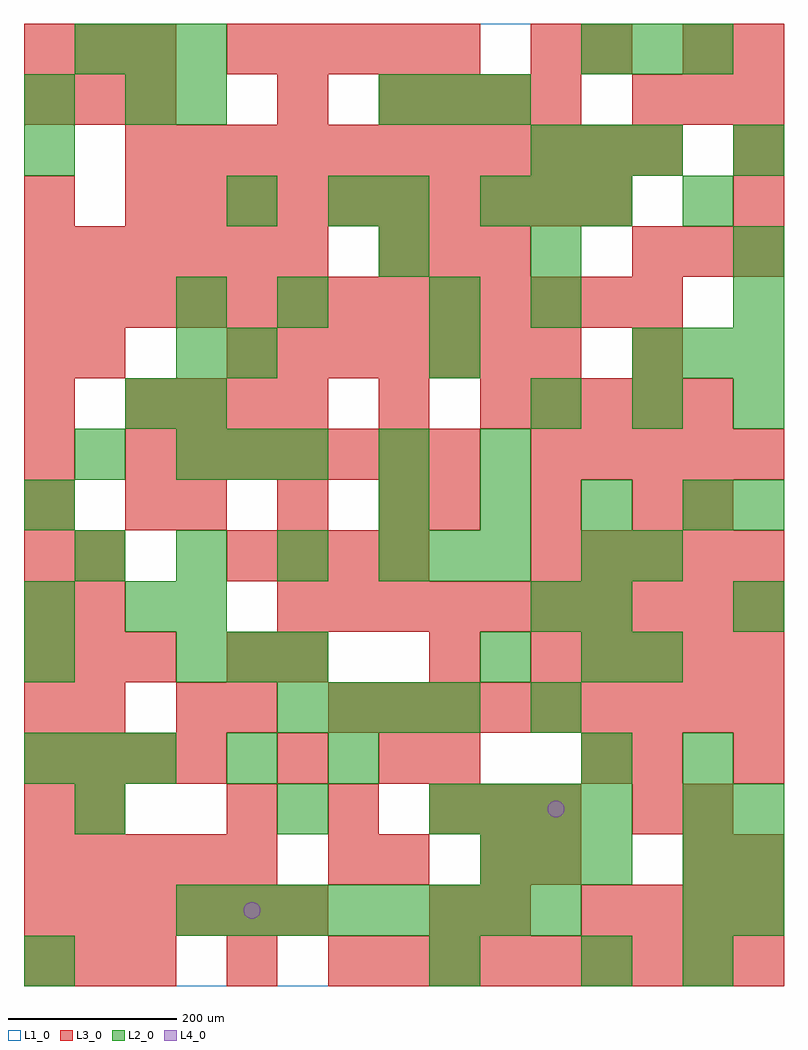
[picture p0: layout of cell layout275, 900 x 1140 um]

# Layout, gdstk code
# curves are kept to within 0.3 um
import gdstk
lib = gdstk.Library(unit=1e-6, precision=1e-09)
def R(c, l, rs):  # rectangles x0, y0, x1, y1
    for r in rs: c.add(gdstk.rectangle(r[:2], r[2:], *l))
def A(c, l, x, y, w, h, nx, ny, dx, dy):  # array of equal rectangles
    R(c, l, [(x+i*dx, y+j*dy, x+i*dx+w, y+j*dy+h) for i in range(nx) for j in range(ny)])
def P(c, l, *ps):  # polygons
    for p in ps: c.add(gdstk.Polygon(p, *l))
L1_0 = (1, 0)
L2_0 = (2, 0)
L3_0 = (3, 0)
L4_0 = (4, 0)

layout275 = lib.new_cell('layout275')
R(layout275, L1_0, [(0,0,900,1140)])
A(layout275, L2_0, 780, 0, 60, 60, 1, 5, 0, 60)
A(layout275, L2_0, 180, 60, 60, 60, 8, 1, 60, 0)
A(layout275, L2_0, 840, 60, 60, 60, 1, 3, 0, 60)
A(layout275, L2_0, 540, 120, 60, 60, 3, 2, 60, 780)
A(layout275, L2_0, 480, 180, 60, 60, 4, 1, 60, 0)
A(layout275, L2_0, 0, 240, 60, 60, 3, 1, 60, 0)
A(layout275, L2_0, 300, 300, 60, 60, 4, 1, 60, 0)
A(layout275, L2_0, 180, 360, 60, 60, 3, 2, 60, 240)
A(layout275, L2_0, 540, 360, 60, 60, 1, 3, 0, 120)
A(layout275, L2_0, 660, 360, 60, 60, 1, 3, 0, 60)
A(layout275, L2_0, 60, 480, 60, 60, 4, 1, 120, 0)
A(layout275, L2_0, 420, 540, 60, 60, 4, 1, 120, 0)
A(layout275, L2_0, 180, 660, 60, 60, 1, 3, 0, 60)
A(layout275, L2_0, 600, 660, 60, 60, 3, 1, 120, 0)
A(layout275, L2_0, 240, 720, 60, 60, 3, 1, 240, 0)
A(layout275, L2_0, 840, 720, 60, 60, 1, 3, 0, 60)
A(layout275, L2_0, 600, 960, 60, 60, 3, 1, 60, 0)
A(layout275, L2_0, 420, 1020, 60, 60, 3, 1, 60, 0)
A(layout275, L2_0, 60, 1080, 60, 60, 3, 1, 60, 0)
A(layout275, L2_0, 660, 1080, 60, 60, 3, 1, 60, 0)
R(layout275, L2_0, [(0,0,60,60), (480,0,540,60), (660,0,720,60), (60,180,120,240), (300,180,360,240), (240,240,300,300), (360,240,420,300), (660,240,720,300), (600,300,660,360), (0,360,60,420), (720,360,780,420), (0,420,60,480), (120,420,180,480), (180,420,240,480), (600,420,660,480), (840,420,900,480), (480,480,540,540), (720,480,780,540), (0,540,60,600), (840,540,900,600), (60,600,120,660), (420,600,480,660), (120,660,180,720), (780,720,840,780), (300,780,360,840), (480,780,540,840), (600,780,660,840), (420,840,480,900), (600,840,660,900), (240,900,300,960), (360,900,420,960), (420,900,480,960), (780,900,840,960), (0,960,60,1020), (840,960,900,1020), (0,1020,60,1080), (120,1020,180,1080), (180,1020,240,1080)])
A(layout275, L3_0, 0, 0, 60, 60, 3, 2, 60, 360)
A(layout275, L3_0, 360, 0, 60, 60, 9, 2, 60, 300)
A(layout275, L3_0, 0, 60, 60, 60, 6, 2, 60, 780)
A(layout275, L3_0, 540, 60, 60, 60, 1, 3, 0, 60)
A(layout275, L3_0, 660, 60, 60, 60, 4, 1, 60, 0)
A(layout275, L3_0, 0, 120, 60, 60, 5, 1, 60, 0)
A(layout275, L3_0, 0, 180, 60, 60, 1, 3, 0, 120)
A(layout275, L3_0, 60, 180, 60, 60, 1, 3, 0, 120)
A(layout275, L3_0, 240, 180, 60, 60, 3, 1, 120, 0)
A(layout275, L3_0, 0, 240, 60, 60, 4, 1, 60, 0)
A(layout275, L3_0, 600, 360, 60, 60, 5, 3, 60, 120)
A(layout275, L3_0, 300, 420, 60, 60, 10, 1, 60, 0)
A(layout275, L3_0, 0, 480, 60, 60, 1, 5, 0, 60)
A(layout275, L3_0, 240, 480, 60, 60, 4, 1, 60, 0)
A(layout275, L3_0, 180, 540, 60, 60, 3, 1, 120, 0)
A(layout275, L3_0, 480, 540, 60, 60, 3, 1, 120, 0)
A(layout275, L3_0, 120, 600, 60, 60, 7, 1, 60, 0)
A(layout275, L3_0, 120, 660, 60, 60, 4, 1, 60, 0)
A(layout275, L3_0, 540, 660, 60, 60, 5, 1, 60, 0)
A(layout275, L3_0, 240, 720, 60, 60, 7, 1, 60, 0)
A(layout275, L3_0, 0, 780, 60, 60, 13, 1, 60, 0)
A(layout275, L3_0, 420, 840, 60, 60, 3, 1, 60, 0)
A(layout275, L3_0, 720, 840, 60, 60, 3, 2, 60, 180)
A(layout275, L3_0, 120, 900, 60, 60, 10, 1, 60, 0)
A(layout275, L3_0, 120, 960, 60, 60, 11, 1, 60, 0)
A(layout275, L3_0, 0, 1020, 60, 60, 3, 2, 60, 60)
A(layout275, L3_0, 420, 1020, 60, 60, 4, 1, 60, 0)
A(layout275, L3_0, 240, 1080, 60, 60, 5, 1, 60, 0)
R(layout275, L3_0, [(240,0,300,60), (480,60,540,120), (360,120,420,180), (420,120,480,180), (600,120,660,180), (780,120,840,180), (840,120,900,180), (600,180,660,240), (720,180,780,240), (780,180,840,240), (300,240,360,300), (420,240,480,300), (480,240,540,300), (660,240,720,300), (720,240,780,300), (840,240,900,300), (180,300,240,360), (240,300,300,360), (240,360,300,420), (300,360,360,420), (480,360,540,420), (60,480,120,540), (120,540,180,600), (780,540,840,600), (420,660,480,720), (60,720,120,780), (720,720,780,780), (0,900,60,960), (840,900,900,960), (840,960,900,1020), (300,1020,360,1080), (600,1080,660,1140), (660,1080,720,1140), (780,1080,840,1140), (840,1080,900,1140)])
P(layout275, L4_0, [(280,90),(279.239,93.827),(277.071,97.071),(273.827,99.239),(270,100),(266.173,99.239),(262.929,97.071),(260.761,93.827),(260,90),(260.761,86.173),(262.929,82.929),(266.173,80.761),(270,80),(273.827,80.761),(277.071,82.929),(279.239,86.173)],
  [(640,210),(639.239,213.827),(637.071,217.071),(633.827,219.239),(630,220),(626.173,219.239),(622.929,217.071),(620.761,213.827),(620,210),(620.761,206.173),(622.929,202.929),(626.173,200.761),(630,200),(633.827,200.761),(637.071,202.929),(639.239,206.173)])

lib.write_gds('layout275.gds')
